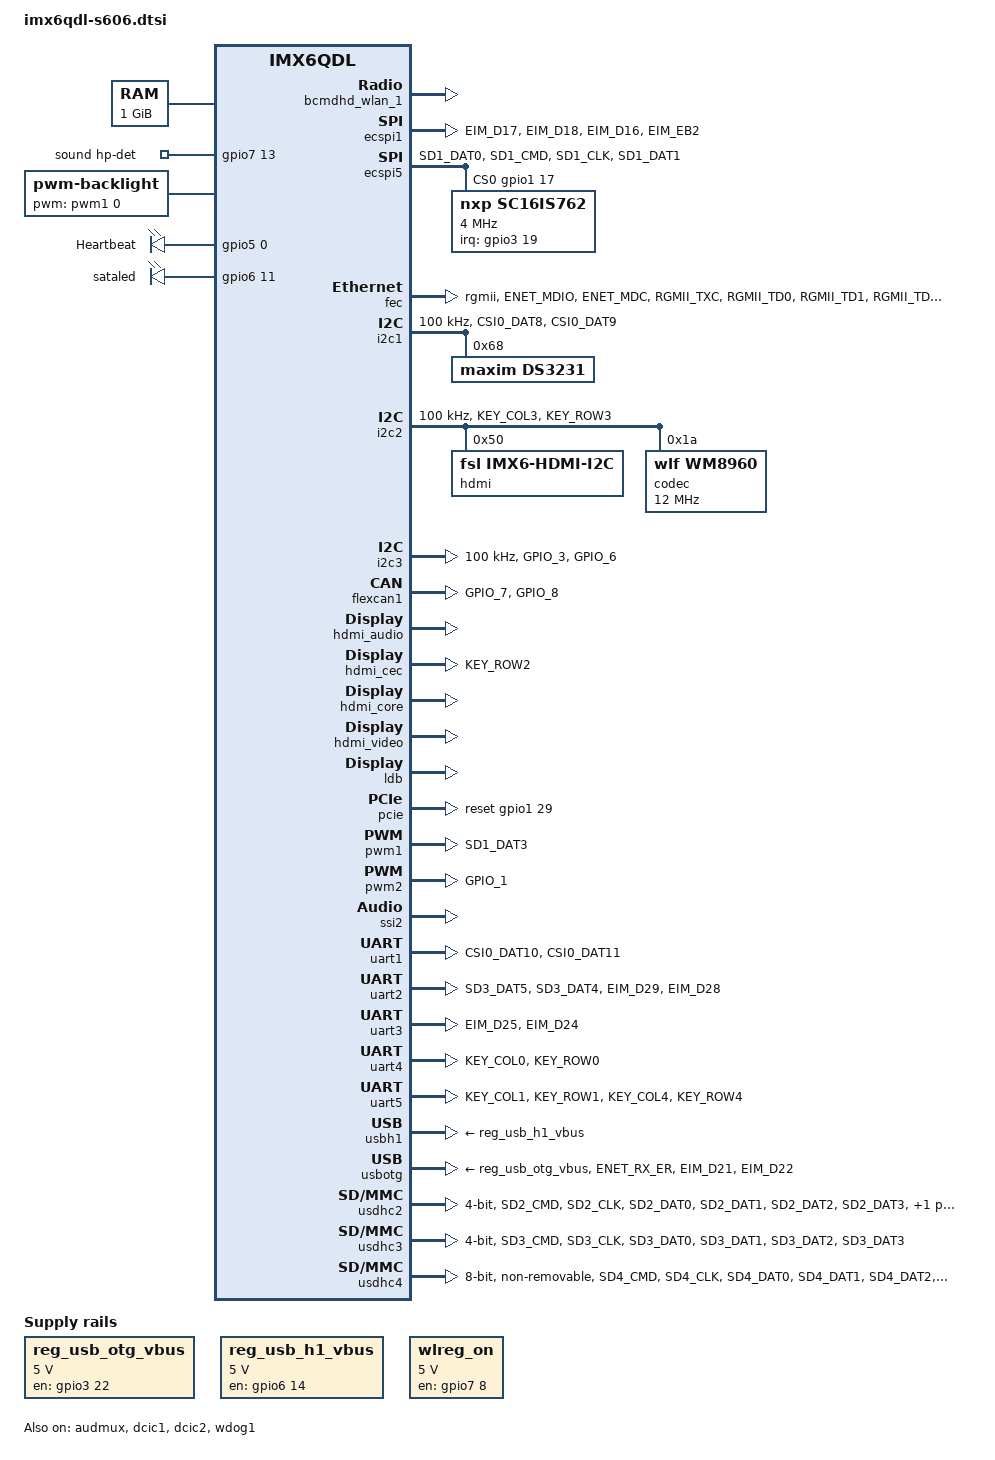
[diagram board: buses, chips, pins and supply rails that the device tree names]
/*
 * Copyright 2012 Freescale Semiconductor, Inc.
 * Copyright 2011 Linaro Ltd.
 *
 * The code contained herein is licensed under the GNU General Public
 * License. You may obtain a copy of the GNU General Public License
 * Version 2 or later at the following locations:
 *
 * http://www.opensource.org/licenses/gpl-license.html
 * http://www.gnu.org/copyleft/gpl.html
 */

#include <dt-bindings/input/input.h>

/ {
	aliases {
		mxcfb0 = &mxcfb1;
		mxcfb1 = &mxcfb2;
		mxcfb2 = &mxcfb3;
		mxcfb3 = &mxcfb4;
	};

	memory: memory {
		reg = <0x10000000 0x40000000>;
	};

	regulators {
		compatible = "simple-bus";
		#address-cells = <1>;
		#size-cells = <0>;

		reg_usb_otg_vbus: regulator@0 {
			compatible = "regulator-fixed";
			reg = <0>;
			regulator-name = "usb_otg_vbus";
			regulator-min-microvolt = <5000000>;
			regulator-max-microvolt = <5000000>;
			gpio = <&gpio3 22 0>;
			enable-active-high;
		};

		reg_usb_h1_vbus: regulator@1 {
			compatible = "regulator-fixed";
			reg = <1>;
			regulator-name = "usb_h1_vbus";
			regulator-min-microvolt = <5000000>;
			regulator-max-microvolt = <5000000>;
			gpio = <&gpio6 14 0>;
			enable-active-high;
		};

		wlreg_on: fixedregulator@100 {
			compatible = "regulator-fixed";
			regulator-min-microvolt = <5000000>;
			regulator-max-microvolt = <5000000>;
			regulator-name = "wlreg_on";
			gpio = <&gpio7 8 0>;
			startup-delay-us = <100>;
			enable-active-high;
		};

		bcmdhd_wlan_1: bcmdhd_wlan@0 {
			compatible = "android,bcmdhd_wlan";
			wlreg_on-supply = <&wlreg_on>;
		};
	};

	sound {
		compatible = "fsl,imxqdl-s606-wm8960",
			   "fsl,imx-audio-wm8960";
		model = "wm8960-audio";
		cpu-dai = <&ssi2>;
		audio-codec = <&codec>;
	  asrc-controller = <&asrc>;
		mux-int-port = <2>;
		mux-ext-port = <3>;
		codec-master;
		gpr = <&gpr>;
		/*
     		* hp-det = <hp-det-pin hp-det-polarity>;
		 * hp-det-pin: JD1 JD2  or JD3
		 * hp-det-polarity = 0: hp detect high for headphone
		 * hp-det-polarity = 1: hp detect high for speaker
		 */
		hp-det = <3 0>;
		hp-det-gpios = <&gpio7 13 0>;
		status = "okay";
		audio-routing =
			"Headset Jack", "HP_L",
			"Headset Jack", "HP_R",
			"Ext Spk", "SPK_LP",
			"Ext Spk", "SPK_LN",
			"Ext Spk", "SPK_RP",
			"Ext Spk", "SPK_RN",
			"LINPUT2", "Hp MIC",
			"LINPUT3", "Hp MIC",
			"RINPUT1", "Main MIC",
			"RINPUT2", "Main MIC",
			"Hp MIC", "MICB",
			"Main MIC", "MICB",
			"CPU-Playback", "ASRC-Playback",
			"Playback", "CPU-Playback",
			"ASRC-Capture", "CPU-Capture",
			"CPU-Capture", "Capture";
	};

	sound-hdmi {
		compatible = "fsl,imx6q-audio-hdmi",
			     "fsl,imx-audio-hdmi";
		model = "imx-audio-hdmi";
		hdmi-controller = <&hdmi_audio>;
	};

	mxcfb1: fb@0 {
		compatible = "fsl,mxc_sdc_fb";
		disp_dev = "lcd";
		interface_pix_fmt = "RGB24";
		mode_str ="720P";
		default_bpp = <32>;
		int_clk = <0>;
    late_init = <0>;
		status = "disabled";
	};

	mxcfb2: fb@1 {
		compatible = "fsl,mxc_sdc_fb";
		disp_dev = "hdmi";
		interface_pix_fmt = "RGB24";
		mode_str ="1920x1080M@60";
		default_bpp = <32>;
		int_clk = <0>;
    late_init = <0>;
		status = "disabled";
	};

	mxcfb3: fb@2 {
		compatible = "fsl,mxc_sdc_fb";
		disp_dev = "ldb";
		interface_pix_fmt = "RGB24";
		default_bpp = <24>;
		int_clk = <0>;
    late_init = <0>;
		status = "disabled";
	};

	mxcfb4: fb@3 {
		compatible = "fsl,mxc_sdc_fb";
		disp_dev = "ldb";
		interface_pix_fmt = "RGB24";
		default_bpp = <24>;
		int_clk = <0>;
    late_init = <0>;
		status = "disabled";
	};

/*
	mxcfb4: fb@3 {
		compatible = "fsl,mxc_sdc_fb";
		disp_dev = "lcd";
		interface_pix_fmt = "RGB565";
		mode_str ="CLAA-WVGA";
		default_bpp = <16>;
		int_clk = <0>;
		late_init = <0>;
		status = "disabled";
	};
*/
	mxclcd0: lcd@0 {
		compatible = "fsl,lcd";
		ipu_id = <0>;
		disp_id = <0>;
		default_ifmt = "RGB565";
		pinctrl-names = "default";
		pinctrl-0 = <&pinctrl_ipu1>;
		status = "disabled";
	};

	mxclcd1: lcd@1 {
		compatible = "fsl,lcd";
		ipu_id = <0>;
		disp_id = <1>;
		default_ifmt = "RGB24";
		pinctrl-names = "default";
		pinctrl-0 = <&pinctrl_ipu1_di1>;
		status = "disabled";
	};

	pwm-backlight {
		compatible = "pwm-backlight";
		pwms = <&pwm1 0 50000>;
		brightness-levels = <
			0  /*1  2  3  4  5  6*/  7  8  9
			10 11 12 13 14 15 16 17 18 19
			20 21 22 23 24 25 26 27 28 29
			30 31 32 33 34 35 36 37 38 39
			40 41 42 43 44 45 46 47 48 49
			50 51 52 53 54 55 56 57 58 59
			60 61 62 63 64 65 66 67 68 69
			70 71 72 73 74 75 76 77 78 79
			80 81 82 83 84 85 86 87 88 89
			90 91 92 93 94 95 96 97 98 99
			100
			>;
		default-brightness-level = <94>;
	};

	caam_keyblob {
		compatible = "fsl,sec-v4.0-keyblob";
	};

	minipcie_ctrl {
		power-on-gpio = <&gpio1 30 0>;
	};
/*
    bt_rfkill {
                compatible = "fsl,mxc_bt_rfkill";
                        bt-power-gpios = <&gpio1 2 0>;
                                status ="okay";
    };
*/
	ramoops_device {
		compatible = "fsl,mxc_ramoops";
		record_size = <524288>; /*512K*/
		console_size = <262144>; /*256K*/
		ftrace_size = <262144>;  /*256K*/
		dump_oops = <1>;
		status = "okay";
	};


	leds {
		compatible = "gpio-leds";

		debug-led {
			label = "Heartbeat";
			gpios = <&gpio5 0 0>;
			linux,default-trigger = "heartbeat";
		};

		sata-led {
			label = "sataled";
			gpios = <&gpio6 11 0>;
			linux,default-trigger = "disk-activity";
		};
	};

};

&audmux {
	pinctrl-names = "default";
	pinctrl-0 = <&pinctrl_audmux>;
	status = "okay";
};


&clks {
	fsl,ldb-di0-parent = <&clks IMX6QDL_CLK_PLL2_PFD0_352M>;
	fsl,ldb-di1-parent = <&clks IMX6QDL_CLK_PLL2_PFD0_352M>;
};

&ecspi1 {
	fsl,spi-num-chipselects = <1>;
	cs-gpios = <&gpio2 30 0>;
	pinctrl-names = "default";
	pinctrl-0 = <&pinctrl_ecspi1>;
	status = "okay";

};

&ecspi5 {
	fsl,spi-num-chipselects = <1>;
	cs-gpios = <&gpio1 17 0>;
	pinctrl-names = "default";
	pinctrl-0 = <&pinctrl_ecspi5>;
	status = "okay";

	sc16is762: sc16is762@0 {
		compatible = "nxp,sc16is762";
		reg = <0>;
		interrupt-parent = <&gpio3>;
		interrupts = <19 IRQ_TYPE_EDGE_FALLING>;
		spi-max-frequency = <4000000>;
		gpio-controller;
		#gpio-cells = <2>;
	};
};

&fec {
	pinctrl-names = "default";
	pinctrl-0 = <&pinctrl_enet>;
	phy-mode = "rgmii";
	phy-reset-gpios = <&gpio1 25 0>;
	fsl,magic-packet;
	status = "okay";
};

&i2c1 {
	clock-frequency = <100000>;
	pinctrl-names = "default";
	pinctrl-0 = <&pinctrl_i2c1>;
	status = "okay";
	
	ds3231: ds3231@68 {
		compatible = "maxim,ds3231";
		reg = <0x68>;
		#clock-cells = <1>;
	};


};

&i2c2 {
	clock-frequency = <100000>;
	pinctrl-names = "default";
	pinctrl-0 = <&pinctrl_i2c2>;
	status = "okay";

	hdmi: edid@50 {
		compatible = "fsl,imx6-hdmi-i2c";
		reg = <0x50>;
	};
	
	codec: wm8960@1a {
		compatible = "wlf,wm8960";
		reg = <0x1a>;
		clocks = <&clks 201>;
		clock-names = "mclk";
		clock-frequency = <12000000>;
		wlf,shared-lrclk;
	  status = "okay";
	};


};

&i2c3 {
	clock-frequency = <100000>;
	pinctrl-names = "default";
	pinctrl-0 = <&pinctrl_i2c3>;
	status = "okay";
/*
	vga: edid@50 {
		compatible = "fsl,imx6-hdmi-i2c";
		reg = <0x50>;
	};
*/
};

&iomuxc {
	pinctrl-names = "default";
	pinctrl-0 = <&pinctrl_hog>;

	imx6qdl-s606 {
		pinctrl_hog: hoggrp {
			fsl,pins = <
				MX6QDL_PAD_GPIO_0__GPIO1_IO00   0x80000000   /*EXTERNAL GPIO*/
				MX6QDL_PAD_KEY_COL2__GPIO4_IO10   0x80000000   /*EXTERNAL GPIO*/
				MX6QDL_PAD_KEY_ROW2__GPIO4_IO11   0x80000000   /*EXTERNAL GPIO*/
				MX6QDL_PAD_GPIO_5__CCM_CLKO1   0x130b0   /*EXTERNAL GPIO  CLK*/
				MX6QDL_PAD_GPIO_2__GPIO1_IO02 0x80000000  /*power_lock*/
				MX6QDL_PAD_SD3_DAT6__GPIO6_IO18		0x80000000 /*WLAN_HOST_WAKEUP*/
				MX6QDL_PAD_SD3_DAT7__GPIO6_IO17		0x80000000 /*WLAN_PWREN*/
				MX6QDL_PAD_GPIO_9__GPIO1_IO09		0x80000000 /*LCD_PWREN*/
				MX6QDL_PAD_GPIO_16__GPIO7_IO11		0x80000000 /*AUD_PWREN*/
				MX6QDL_PAD_GPIO_17__GPIO7_IO12		0x80000000 /* */
				MX6QDL_PAD_GPIO_18__GPIO7_IO13		0x80000000 /*HP_IN_DET*/
				MX6QDL_PAD_GPIO_19__GPIO4_IO05		0x80000000 /*EXTERNAL GPIO*/
				MX6QDL_PAD_NANDF_CS0__GPIO6_IO11 0x80000000  /*sata led*/
				MX6QDL_PAD_NANDF_CS1__GPIO6_IO14 0x80000000  /*USB_HUB_RST*/
				MX6QDL_PAD_NANDF_CS2__CCM_CLKO2 0x80000000   /*WM8960 CCM_CLK2*/
				MX6QDL_PAD_NANDF_CS3__GPIO6_IO16 0x80000000
				MX6QDL_PAD_NANDF_ALE__GPIO6_IO08 0x80000000 /*PWR_BTN_SNS*/
				MX6QDL_PAD_NANDF_CLE__GPIO6_IO07 0x80000000 /*VGA_PDN*/
				MX6QDL_PAD_NANDF_WP_B__GPIO6_IO09 0x80000000 
				MX6QDL_PAD_NANDF_RB0__GPIO6_IO10 0x80000000 /*EXTERNAL GPIO*/
				MX6QDL_PAD_NANDF_D0__GPIO2_IO00 0x80000000   /*mpcie_wake*/
				MX6QDL_PAD_NANDF_D1__GPIO2_IO01 0x80000000   /*mpcie_wdis*/
				MX6QDL_PAD_NANDF_D2__GPIO2_IO02 0x80000000   /*mpcie_rst*/
				MX6QDL_PAD_NANDF_D3__GPIO2_IO03 0x80000000   /*mpcie_pwren*/
				MX6QDL_PAD_NANDF_D4__GPIO2_IO04 0x80000000   /*MCU_INT*/
				MX6QDL_PAD_NANDF_D5__GPIO2_IO05 0x80000000   /* */
				MX6QDL_PAD_NANDF_D6__GPIO2_IO06 0x80000000   /* */
				MX6QDL_PAD_NANDF_D7__GPIO2_IO07 0x80000000   /* */
				MX6QDL_PAD_SD1_DAT2__WDOG1_B 0x80000000    /* WDOG1_B */
				MX6QDL_PAD_SD3_DAT6__GPIO6_IO18 0x80000000    /* WLAN_HOST_WAKEUP */
				MX6QDL_PAD_SD3_DAT7__GPIO6_IO17 0x80000000    /* WLAN_PWREN */
				MX6QDL_PAD_EIM_EB3__GPIO2_IO31 0x80000000    /* UART3_MODE */
				MX6QDL_PAD_EIM_BCLK__GPIO6_IO31 0x80000000    /* DISP0_BLEN */
				MX6QDL_PAD_EIM_WAIT__GPIO5_IO00 0x80000000    /* SYS LED */
				MX6QDL_PAD_EIM_D19__GPIO3_IO19 0x80000000    /* EX UART IRQ */
				MX6QDL_PAD_EIM_D20__GPIO3_IO20 0x80000000    /* EX UART REST  */
				MX6QDL_PAD_ENET_CRS_DV__GPIO1_IO25 0x80000000    /*RGMII_nRST  */
				MX6QDL_PAD_ENET_RXD1__GPIO1_IO26 0x80000000    /*RGMII_INT  */
				MX6QDL_PAD_ENET_RXD0__GPIO1_IO27 0x80000000    /*LAN_WAKE  */
				MX6QDL_PAD_ENET_TX_EN__GPIO1_IO28 0x80000000    /*LAN_DISABLE  */
				MX6QDL_PAD_ENET_TXD1__GPIO1_IO29 0x80000000    /*LAN_RESET  */
				MX6QDL_PAD_ENET_TXD0__GPIO1_IO30 0x80000000    /*LAN_PWREN  */
				MX6QDL_PAD_DI0_PIN4__GPIO4_IO20        0x80000000 /*LCD GPIO*/
				MX6QDL_PAD_GPIO_4__GPIO1_IO04	  	0x80000000	/* SD2_CD */
				MX6QDL_PAD_SD3_RST__GPIO7_IO08	  	0x80000000	/* WIFI_REG_ON */
			>;
		};

		pinctrl_audmux: audmuxgrp {
			fsl,pins = <
				MX6QDL_PAD_CSI0_DAT7__AUD3_RXD		0x130b0
				MX6QDL_PAD_CSI0_DAT4__AUD3_TXC		0x130b0
				MX6QDL_PAD_CSI0_DAT5__AUD3_TXD		0x110b0
				MX6QDL_PAD_CSI0_DAT6__AUD3_TXFS		0x130b0
			>;
		};

		pinctrl_ecspi1: ecspi1grp {
			fsl,pins = <
				MX6QDL_PAD_EIM_D17__ECSPI1_MISO	0x100b1
				MX6QDL_PAD_EIM_D18__ECSPI1_MOSI	0x100b1
				MX6QDL_PAD_EIM_D16__ECSPI1_SCLK	0x100b1
				MX6QDL_PAD_EIM_EB2__GPIO2_IO30	0x80000000
			>;
		};

		pinctrl_ecspi5: ecspi5grp {
			fsl,pins = <
				MX6QDL_PAD_SD1_DAT0__ECSPI5_MISO	0x100b1
				MX6QDL_PAD_SD1_CMD__ECSPI5_MOSI	0x100b1
				MX6QDL_PAD_SD1_CLK__ECSPI5_SCLK	0x100b1
				MX6QDL_PAD_SD1_DAT1__GPIO1_IO17	0x80000000
			>;
		};

		pinctrl_enet: enetgrp {
			fsl,pins = <
				MX6QDL_PAD_ENET_MDIO__ENET_MDIO		0x1b0b0
				MX6QDL_PAD_ENET_MDC__ENET_MDC		0x1b0b0
				MX6QDL_PAD_RGMII_TXC__RGMII_TXC		0x1b0b0
				MX6QDL_PAD_RGMII_TD0__RGMII_TD0		0x1b0b0
				MX6QDL_PAD_RGMII_TD1__RGMII_TD1		0x1b0b0
				MX6QDL_PAD_RGMII_TD2__RGMII_TD2		0x1b0b0
				MX6QDL_PAD_RGMII_TD3__RGMII_TD3		0x1b0b0
				MX6QDL_PAD_RGMII_TX_CTL__RGMII_TX_CTL	0x1b0b0
				MX6QDL_PAD_ENET_REF_CLK__ENET_TX_CLK	0x1b0b0
				MX6QDL_PAD_RGMII_RXC__RGMII_RXC		0x1b0b0
				MX6QDL_PAD_RGMII_RD0__RGMII_RD0		0x1b0b0
				MX6QDL_PAD_RGMII_RD1__RGMII_RD1		0x1b0b0
				MX6QDL_PAD_RGMII_RD2__RGMII_RD2		0x1b0b0
				MX6QDL_PAD_RGMII_RD3__RGMII_RD3		0x1b0b0
				MX6QDL_PAD_RGMII_RX_CTL__RGMII_RX_CTL	0x1b0b0
			>;
		};

		pinctrl_hdmi_cec: hdmicecgrp {
			fsl,pins = <
				MX6QDL_PAD_KEY_ROW2__HDMI_TX_CEC_LINE 0x1f8b0
			>;
		};

		pinctrl_hdmi_hdcp: hdmihdcpgrp {
			fsl,pins = <
				MX6QDL_PAD_KEY_COL3__HDMI_TX_DDC_SCL 0x4001b8b1
				MX6QDL_PAD_KEY_ROW3__HDMI_TX_DDC_SDA 0x4001b8b1
			>;
		};

		pinctrl_i2c1: i2c1grp {
			fsl,pins = <
				MX6QDL_PAD_CSI0_DAT8__I2C1_SDA		0x4001b8b1
				MX6QDL_PAD_CSI0_DAT9__I2C1_SCL		0x4001b8b1
			>;
		};

		pinctrl_i2c2: i2c2grp {
			fsl,pins = <
				MX6QDL_PAD_KEY_COL3__I2C2_SCL		0x4001b8b1
				MX6QDL_PAD_KEY_ROW3__I2C2_SDA		0x4001b8b1
			 >;
		};

		pinctrl_i2c3: i2c3grp {
			fsl,pins = <
				MX6QDL_PAD_GPIO_3__I2C3_SCL		0x4001b8b1
				MX6QDL_PAD_GPIO_6__I2C3_SDA		0x4001b8b1
			>;
		};

		pinctrl_ipu1: ipu1grp {
			fsl,pins = <
				MX6QDL_PAD_DI0_DISP_CLK__IPU1_DI0_DISP_CLK 0x10
				MX6QDL_PAD_DI0_PIN15__IPU1_DI0_PIN15       0x10
				MX6QDL_PAD_DI0_PIN2__IPU1_DI0_PIN02        0x10
				MX6QDL_PAD_DI0_PIN3__IPU1_DI0_PIN03        0x10
				MX6QDL_PAD_DISP0_DAT0__IPU1_DISP0_DATA00   0x10
				MX6QDL_PAD_DISP0_DAT1__IPU1_DISP0_DATA01   0x10
				MX6QDL_PAD_DISP0_DAT2__IPU1_DISP0_DATA02   0x10
				MX6QDL_PAD_DISP0_DAT3__IPU1_DISP0_DATA03   0x10
				MX6QDL_PAD_DISP0_DAT4__IPU1_DISP0_DATA04   0x10
				MX6QDL_PAD_DISP0_DAT5__IPU1_DISP0_DATA05   0x10
				MX6QDL_PAD_DISP0_DAT6__IPU1_DISP0_DATA06   0x10
				MX6QDL_PAD_DISP0_DAT7__IPU1_DISP0_DATA07   0x10
				MX6QDL_PAD_DISP0_DAT8__IPU1_DISP0_DATA08   0x10
				MX6QDL_PAD_DISP0_DAT9__IPU1_DISP0_DATA09   0x10
				MX6QDL_PAD_DISP0_DAT10__IPU1_DISP0_DATA10  0x10
				MX6QDL_PAD_DISP0_DAT11__IPU1_DISP0_DATA11  0x10
				MX6QDL_PAD_DISP0_DAT12__IPU1_DISP0_DATA12  0x10
				MX6QDL_PAD_DISP0_DAT13__IPU1_DISP0_DATA13  0x10
				MX6QDL_PAD_DISP0_DAT14__IPU1_DISP0_DATA14  0x10
				MX6QDL_PAD_DISP0_DAT15__IPU1_DISP0_DATA15  0x10
				MX6QDL_PAD_DISP0_DAT16__IPU1_DISP0_DATA16  0x10
				MX6QDL_PAD_DISP0_DAT17__IPU1_DISP0_DATA17  0x10
				MX6QDL_PAD_DISP0_DAT18__IPU1_DISP0_DATA18  0x10
				MX6QDL_PAD_DISP0_DAT19__IPU1_DISP0_DATA19  0x10
				MX6QDL_PAD_DISP0_DAT20__IPU1_DISP0_DATA20  0x10
				MX6QDL_PAD_DISP0_DAT21__IPU1_DISP0_DATA21  0x10
				MX6QDL_PAD_DISP0_DAT22__IPU1_DISP0_DATA22  0x10
				MX6QDL_PAD_DISP0_DAT23__IPU1_DISP0_DATA23  0x10
			>;
		};

		pinctrl_ipu1_di1: ipu1grp-1 { 
			fsl,pins = <
				MX6QDL_PAD_EIM_A16__IPU1_DI1_DISP_CLK 0x10
				MX6QDL_PAD_EIM_DA10__IPU1_DI1_PIN15       0x10
				MX6QDL_PAD_EIM_DA11__IPU1_DI1_PIN02        0x10
				MX6QDL_PAD_EIM_DA12__IPU1_DI1_PIN03        0x10
				MX6QDL_PAD_EIM_DA9__IPU1_DISP1_DATA00   0x10
				MX6QDL_PAD_EIM_DA8__IPU1_DISP1_DATA01   0x10
				MX6QDL_PAD_EIM_DA7__IPU1_DISP1_DATA02   0x10
				MX6QDL_PAD_EIM_DA6__IPU1_DISP1_DATA03   0x10
				MX6QDL_PAD_EIM_DA5__IPU1_DISP1_DATA04   0x10
				MX6QDL_PAD_EIM_DA4__IPU1_DISP1_DATA05   0x10
				MX6QDL_PAD_EIM_DA3__IPU1_DISP1_DATA06   0x10
				MX6QDL_PAD_EIM_DA2__IPU1_DISP1_DATA07   0x10
				MX6QDL_PAD_EIM_DA1__IPU1_DISP1_DATA08   0x10
				MX6QDL_PAD_EIM_DA0__IPU1_DISP1_DATA09   0x10
				MX6QDL_PAD_EIM_EB1__IPU1_DISP1_DATA10  0x10
				MX6QDL_PAD_EIM_EB0__IPU1_DISP1_DATA11  0x10
				MX6QDL_PAD_EIM_A17__IPU1_DISP1_DATA12  0x10
				MX6QDL_PAD_EIM_A18__IPU1_DISP1_DATA13  0x10
				MX6QDL_PAD_EIM_A19__IPU1_DISP1_DATA14  0x10
				MX6QDL_PAD_EIM_A20__IPU1_DISP1_DATA15  0x10
				MX6QDL_PAD_EIM_A21__IPU1_DISP1_DATA16  0x10
				MX6QDL_PAD_EIM_A22__IPU1_DISP1_DATA17  0x10
				MX6QDL_PAD_EIM_A23__IPU1_DISP1_DATA18  0x10
				MX6QDL_PAD_EIM_A24__IPU1_DISP1_DATA19  0x10
				MX6QDL_PAD_EIM_D31__IPU1_DISP1_DATA20  0x10
				MX6QDL_PAD_EIM_D30__IPU1_DISP1_DATA21  0x10
				MX6QDL_PAD_EIM_D26__IPU1_DISP1_DATA22  0x10
				MX6QDL_PAD_EIM_D27__IPU1_DISP1_DATA23  0x10
			>;
		};
    
		pinctrl_ipu1_2: ipu1grp-2 { /* parallel camera */
			fsl,pins = <
				MX6QDL_PAD_CSI0_DAT12__IPU1_CSI0_DATA12    0x80000000
				MX6QDL_PAD_CSI0_DAT13__IPU1_CSI0_DATA13    0x80000000
				MX6QDL_PAD_CSI0_DAT14__IPU1_CSI0_DATA14    0x80000000
				MX6QDL_PAD_CSI0_DAT15__IPU1_CSI0_DATA15    0x80000000
				MX6QDL_PAD_CSI0_DAT16__IPU1_CSI0_DATA16    0x80000000
				MX6QDL_PAD_CSI0_DAT17__IPU1_CSI0_DATA17    0x80000000
				MX6QDL_PAD_CSI0_DAT18__IPU1_CSI0_DATA18    0x80000000
				MX6QDL_PAD_CSI0_DAT19__IPU1_CSI0_DATA19    0x80000000
				MX6QDL_PAD_CSI0_DATA_EN__IPU1_CSI0_DATA_EN 0x80000000
				MX6QDL_PAD_CSI0_PIXCLK__IPU1_CSI0_PIXCLK   0x80000000
				MX6QDL_PAD_CSI0_MCLK__IPU1_CSI0_HSYNC      0x80000000
				MX6QDL_PAD_CSI0_VSYNC__IPU1_CSI0_VSYNC     0x80000000
			>;
		};

		pinctrl_pwm1: pwm1grp {
			fsl,pins = <
				MX6QDL_PAD_SD1_DAT3__PWM1_OUT		0x1b0b1
			>;
		};

		pinctrl_pwm2: pwm2grp {
			fsl,pins = <
				MX6QDL_PAD_GPIO_1__PWM2_OUT		0x1b0b1 
			>;
		};

		pinctrl_flexcan1: flexcan1grp {
			fsl,pins = <
				MX6QDL_PAD_GPIO_7__FLEXCAN1_TX		0x1b020 /*CAN1_TXD*/
				MX6QDL_PAD_GPIO_8__FLEXCAN1_RX		0x1b020 /*CAN1_RXD*/
			>;
		};

		pinctrl_uart1: uart1grp {
			fsl,pins = <
				MX6QDL_PAD_CSI0_DAT10__UART1_TX_DATA	0x1b0b1
				MX6QDL_PAD_CSI0_DAT11__UART1_RX_DATA	0x1b0b1
			>;
		};

		pinctrl_uart2: uart2grp {
			fsl,pins = <
				MX6QDL_PAD_SD3_DAT5__UART2_TX_DATA	0x1b0b1
				MX6QDL_PAD_SD3_DAT4__UART2_RX_DATA	0x1b0b1
				MX6QDL_PAD_EIM_D29__UART2_RTS_B	0x1b0b1
				MX6QDL_PAD_EIM_D28__UART2_CTS_B	0x1b0b1
			>;
		};

		pinctrl_uart3: uart3grp {
			fsl,pins = <
				MX6QDL_PAD_EIM_D25__UART3_TX_DATA	0x1b0b1
				MX6QDL_PAD_EIM_D24__UART3_RX_DATA	0x1b0b1
			>;
		};

		pinctrl_uart4: uart4grp {
			fsl,pins = <
				MX6QDL_PAD_KEY_COL0__UART4_TX_DATA	0x1b0b1
				MX6QDL_PAD_KEY_ROW0__UART4_RX_DATA	0x1b0b1
			>;
		};

		pinctrl_uart5: uart5grp {
			fsl,pins = <
				MX6QDL_PAD_KEY_COL1__UART5_TX_DATA	0x1b0b1
				MX6QDL_PAD_KEY_ROW1__UART5_RX_DATA	0x1b0b1
				MX6QDL_PAD_KEY_COL4__UART5_RTS_B	0x1b0b1
				MX6QDL_PAD_KEY_ROW4__UART5_CTS_B	0x1b0b1
			>;
		};

		pinctrl_usbotg: usbotggrp {
			fsl,pins = <
				MX6QDL_PAD_ENET_RX_ER__USB_OTG_ID	0x17059
				MX6QDL_PAD_EIM_D21__USB_OTG_OC	0x17059
				MX6QDL_PAD_EIM_D22__USB_OTG_PWR	0x17059
			>;
		};

		pinctrl_usdhc2: usdhc2grp {
			fsl,pins = <
				MX6QDL_PAD_SD2_CMD__SD2_CMD		0x17059
				MX6QDL_PAD_SD2_CLK__SD2_CLK		0x10059
				MX6QDL_PAD_SD2_DAT0__SD2_DATA0		0x17059
				MX6QDL_PAD_SD2_DAT1__SD2_DATA1		0x17059
				MX6QDL_PAD_SD2_DAT2__SD2_DATA2		0x17059
				MX6QDL_PAD_SD2_DAT3__SD2_DATA3		0x17059
			>;
		};

		pinctrl_usdhc3: usdhc3grp {
			fsl,pins = <
				MX6QDL_PAD_SD3_CMD__SD3_CMD		0x17059
				MX6QDL_PAD_SD3_CLK__SD3_CLK		0x10059
				MX6QDL_PAD_SD3_DAT0__SD3_DATA0		0x17059
				MX6QDL_PAD_SD3_DAT1__SD3_DATA1		0x17059
				MX6QDL_PAD_SD3_DAT2__SD3_DATA2		0x17059
				MX6QDL_PAD_SD3_DAT3__SD3_DATA3		0x17059
			>;
		};

		pinctrl_usdhc4: usdhc4grp {
			fsl,pins = <
				MX6QDL_PAD_SD4_CMD__SD4_CMD		0x17059
				MX6QDL_PAD_SD4_CLK__SD4_CLK		0x10059
				MX6QDL_PAD_SD4_DAT0__SD4_DATA0		0x17059
				MX6QDL_PAD_SD4_DAT1__SD4_DATA1		0x17059
				MX6QDL_PAD_SD4_DAT2__SD4_DATA2		0x17059
				MX6QDL_PAD_SD4_DAT3__SD4_DATA3		0x17059
				MX6QDL_PAD_SD4_DAT4__SD4_DATA4		0x17059
				MX6QDL_PAD_SD4_DAT5__SD4_DATA5		0x17059
				MX6QDL_PAD_SD4_DAT6__SD4_DATA6		0x17059
				MX6QDL_PAD_SD4_DAT7__SD4_DATA7		0x17059
			>;
		};

	};
};

&dcic1 {
	dcic_id = <0>;
	dcic_mux = "dcic-hdmi";
	status = "okay";
};

&dcic2 {
	dcic_id = <1>;
	dcic_mux = "dcic-lvds1";
/*
	dcic_mux = "dcic-ipu1-di1";
*/
	status = "okay";
};

&cpu0 {  
    arm-supply = <&reg_arm>;  
    soc-supply = <&reg_soc>;  
};  
  
&gpc {
	/* use ldo-bypass, u-boot will check it and configure */
	fsl,ldo-bypass = <1>;
	fsl,wdog-reset = <1>;
};

&flexcan1 {                                                                                                                                              
	pinctrl-names = "default";
	pinctrl-0 = <&pinctrl_flexcan1>;
	status = "okay";
};

&hdmi_audio {
	status = "okay";
};

&hdmi_cec {
	pinctrl-names = "default";
	pinctrl-0 = <&pinctrl_hdmi_cec>;
	status = "okay";
};

&hdmi_core {
	ipu_id = <1>;
	disp_id = <0>;
	status = "okay";
};

&hdmi_video {
	fsl,phy_reg_vlev = <0x0294>;
	fsl,phy_reg_cksymtx = <0x800d>;
	status = "okay";
};

&ldb {
	status = "okay";

	lvds-channel@0 {
		fsl,data-mapping = "spwg";
		fsl,data-width = <18>;
		primary;
		status = "okay";

		display-timings {
			native-mode = <&timing0>;
			timing0: hsd100pxn1 {
				clock-frequency = <65000000>;
				hactive = <1024>;
				vactive = <768>;
				hback-porch = <220>;
				hfront-porch = <40>;
				vback-porch = <21>;
				vfront-porch = <7>;
				hsync-len = <60>;
				vsync-len = <10>;
			};
		};
	};

	lvds-channel@1 {
		fsl,data-mapping = "spwg";
		fsl,data-width = <18>;
		status = "okay";

		display-timings {
			native-mode = <&timing1>;
			timing1: hsd100pxn1 {
				clock-frequency = <65000000>;
				hactive = <1024>;
				vactive = <768>;
				hback-porch = <220>;
				hfront-porch = <40>;
				vback-porch = <21>;
				vfront-porch = <7>;
				hsync-len = <60>;
				vsync-len = <10>;
			};
		};
	};
};

&pcie {
	power-on-gpio = <&gpio1 30 0>;
	reset-gpio = <&gpio1 29 0>;
	status = "okay";
};

&pwm1 {
	pinctrl-names = "default";
	pinctrl-0 = <&pinctrl_pwm1>;
	status = "okay";
};


&pwm2 {
	pinctrl-names = "default";
	pinctrl-0 = <&pinctrl_pwm2>;
	status = "okay";
};

&ssi2 {
	fsl,mode = "i2s-slave";
	status = "okay";
};

&uart1 {
	pinctrl-names = "default";
	pinctrl-0 = <&pinctrl_uart1>;
	status = "okay";
};

&uart2 {
    pinctrl-names = "default";
    pinctrl-0 = <&pinctrl_uart2>;
    fsl,uart-has-rtscts;
    status = "okay";
};

&uart3 {
	pinctrl-names = "default";
	pinctrl-0 = <&pinctrl_uart3>;
	status = "okay";
};

&uart4 {
	pinctrl-names = "default";
	pinctrl-0 = <&pinctrl_uart4>;
	status = "okay";
};

&uart5 {
    pinctrl-names = "default";
    pinctrl-0 = <&pinctrl_uart5>;
    fsl,uart-has-rtscts;
    status = "okay";
};

&usbh1 {
	vbus-supply = <&reg_usb_h1_vbus>;
	status = "okay";
};

&usbotg {
	vbus-supply = <&reg_usb_otg_vbus>;
	pinctrl-names = "default";
	pinctrl-0 = <&pinctrl_usbotg>;
	disable-over-current;
	srp-disable;
	hnp-disable;
	adp-disable;
	status = "okay";
};

&usdhc2 {
	pinctrl-names = "default";
	pinctrl-0 = <&pinctrl_usdhc2>;
	bus-width = <4>;
	cd-gpios = <&gpio1 4 0>;
	no-1-8-v;
	pm-ignore-notify;
	keep-power-in-suspend;
	enable-sdio-wakeup;
	status = "okay";
};

&usdhc3 {
	pinctrl-names = "default";
	pinctrl-0 = <&pinctrl_usdhc3>;
	bus-width = <4>;
	no-1-8-v;
	wifi-host;
	keep-power-in-suspend;
	enable-sdio-wakeup;
	status = "okay";
};

&usdhc4 {
	pinctrl-names = "default";
	pinctrl-0 = <&pinctrl_usdhc4>;
	bus-width = <8>;
	non-removable;
	no-1-8-v;
	keep-power-in-suspend;
	status = "okay";
};

&wdog1 {
	status = "okay";
};

&wdog2 {
	status = "disabled";
};
